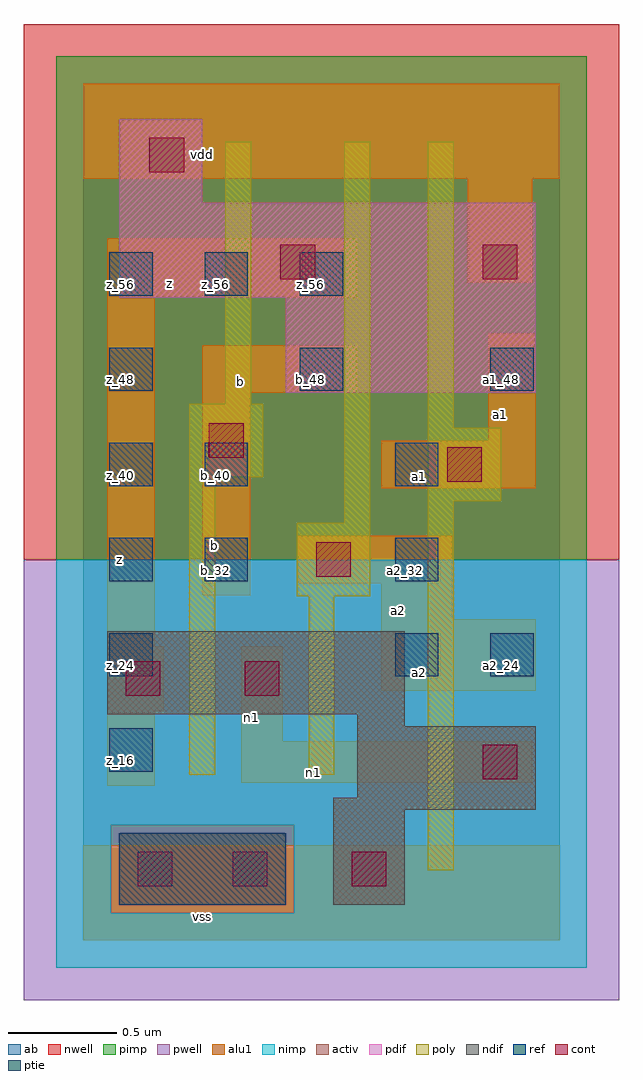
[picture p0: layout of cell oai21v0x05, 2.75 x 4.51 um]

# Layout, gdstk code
import gdstk
lib = gdstk.Library(unit=1e-6, precision=2.5e-09)
def R(c, l, rs):  # rectangles x0, y0, x1, y1
    for r in rs: c.add(gdstk.rectangle(r[:2], r[2:], *l))
def A(c, l, x, y, w, h, nx, ny, dx, dy):  # array of equal rectangles
    R(c, l, [(x+i*dx, y+j*dy, x+i*dx+w, y+j*dy+h) for i in range(nx) for j in range(ny)])
ndif = (3, 0)
pdif = (4, 0)
ptie = (6, 0)
ref = (24, 0)
cont = (25, 0)
pwell = (41, 0)
nwell = (42, 0)
activ = (43, 0)
pimp = (44, 0)
nimp = (45, 0)
poly = (46, 0)
alu1 = (49, 0)
ab = (63, 0)

oai21v0x05 = lib.new_cell('oai21v0x05')
R(oai21v0x05, ndif, [(1.155,0.165,1.485,0.605), (1.155,0.605,2.09,0.66), (1.265,0.66,2.09,0.99), (1.265,0.99,1.485,1.045), (0.11,1.045,1.485,1.43)])
R(oai21v0x05, pdif, [(0.935,2.53,2.09,2.97), (0.165,2.97,2.09,3.41), (0.165,3.41,0.55,3.795)])
R(oai21v0x05, ptie, [(0.165,0.165,0.935,0.495)])
A(oai21v0x05, ref, 0.12, 0.78, 0.2, 0.2, 1, 4, 0, 0.44)
A(oai21v0x05, ref, 1.44, 1.22, 0.2, 0.2, 1, 3, 0, 0.44)
A(oai21v0x05, ref, 0.12, 2.54, 0.2, 0.2, 3, 1, 0.88, 0)
A(oai21v0x05, ref, 0.12, 2.98, 0.2, 0.2, 3, 1, 0.44, 0)
R(oai21v0x05, ref, [(1.88,1.22,2.08,1.42), (0.56,1.66,0.76,1.86), (0.56,2.1,0.76,2.3)])
R(oai21v0x05, cont, [(0.25,0.25,0.41,0.41), (0.69,0.25,0.85,0.41), (1.24,0.25,1.4,0.41), (1.845,0.745,2.005,0.905), (0.195,1.13,0.355,1.29), (0.745,1.13,0.905,1.29), (1.075,1.68,1.235,1.84), (1.68,2.12,1.84,2.28), (0.58,2.23,0.74,2.39), (0.91,3.055,1.07,3.215), (1.845,3.055,2.005,3.215), (0.305,3.55,0.465,3.71)])
R(oai21v0x05, pwell, [(-0.275,-0.275,2.475,1.76)])
R(oai21v0x05, nwell, [(-0.275,1.76,2.475,4.235)])
R(oai21v0x05, activ, [(0.165,0.165,0.935,0.495), (1.155,0.165,1.485,0.605), (1.155,0.605,2.09,0.66), (1.265,0.66,2.09,0.99), (1.265,0.99,1.485,1.045), (0.11,1.045,1.485,1.43), (0.935,2.53,2.09,2.97), (0.165,2.97,2.09,3.41), (0.165,3.41,0.55,3.795)])
R(oai21v0x05, pimp, [(0.125,0.125,0.975,0.535), (-0.125,1.76,2.325,4.085)])
R(oai21v0x05, nimp, [(-0.125,-0.125,2.325,0.125), (-0.125,0.125,0.125,0.535), (0.975,0.125,2.325,0.535), (-0.125,0.535,2.325,1.76)])
R(oai21v0x05, poly, [(1.59,0.325,1.71,2.03), (0.49,0.765,0.61,2.14), (1.04,0.765,1.16,1.59), (0.985,1.59,1.325,1.93), (1.205,1.93,1.325,3.69), (1.59,2.03,1.93,2.37), (0.49,2.14,0.83,2.48), (1.59,2.37,1.71,3.69), (0.655,2.48,0.775,3.69)])
R(oai21v0x05, alu1, [(0,0,2.2,0.44), (0.11,0.715,0.33,1.06), (0.73,0.73,2.075,0.92), (0.73,0.92,0.92,1.36), (0.11,1.06,0.37,1.36), (1.375,1.155,2.09,1.485), (0.11,1.36,0.33,2.97), (1.375,1.485,1.705,1.65), (0.55,1.595,0.77,2.53), (0.99,1.65,1.705,1.87), (1.375,2.09,2.09,2.31), (1.87,2.31,2.09,2.805), (0.55,2.53,1.265,2.75), (0.11,2.97,1.265,3.245), (1.775,3.04,2.075,3.52), (0,3.52,2.2,3.96)])
R(oai21v0x05, ab, [(0,0,2.2,3.96)])
oai21v0x05.add(gdstk.Label('vss', (0.55,0.11), layer=49, texttype=0))
oai21v0x05.add(gdstk.Label('n1', (1.065,0.7775), layer=49, texttype=0))
oai21v0x05.add(gdstk.Label('a2', (1.5525,1.2375), layer=49, texttype=0))
oai21v0x05.add(gdstk.Label('n1', (0.7775,1.03), layer=49, texttype=0))
oai21v0x05.add(gdstk.Label('a2', (1.4575,1.525), layer=49, texttype=0))
oai21v0x05.add(gdstk.Label('a1', (1.5525,2.145), layer=49, texttype=0))
oai21v0x05.add(gdstk.Label('a1', (1.925,2.4325), layer=49, texttype=0))
oai21v0x05.add(gdstk.Label('b', (0.605,1.8275), layer=49, texttype=0))
oai21v0x05.add(gdstk.Label('b', (0.7275,2.585), layer=49, texttype=0))
oai21v0x05.add(gdstk.Label('z', (0.165,1.7625), layer=49, texttype=0))
oai21v0x05.add(gdstk.Label('z', (0.3975,3.0375), layer=49, texttype=0))
oai21v0x05.add(gdstk.Label('vdd', (0.55,3.63), layer=49, texttype=0))
oai21v0x05.add(gdstk.Label('a2_24', (1.49,1.27), layer=24, texttype=0))
oai21v0x05.add(gdstk.Label('a2_24', (1.93,1.27), layer=24, texttype=0))
oai21v0x05.add(gdstk.Label('a2_32', (1.49,1.71), layer=24, texttype=0))
oai21v0x05.add(gdstk.Label('a1_48', (1.93,2.59), layer=24, texttype=0))
oai21v0x05.add(gdstk.Label('a1_40', (1.49,2.15), layer=24, texttype=0))
oai21v0x05.add(gdstk.Label('z_56', (0.17,3.03), layer=24, texttype=0))
oai21v0x05.add(gdstk.Label('z_48', (0.17,2.59), layer=24, texttype=0))
oai21v0x05.add(gdstk.Label('z_40', (0.17,2.15), layer=24, texttype=0))
oai21v0x05.add(gdstk.Label('z_32', (0.17,1.71), layer=24, texttype=0))
oai21v0x05.add(gdstk.Label('z_24', (0.17,1.27), layer=24, texttype=0))
oai21v0x05.add(gdstk.Label('z_16', (0.17,0.83), layer=24, texttype=0))
oai21v0x05.add(gdstk.Label('z_56', (1.05,3.03), layer=24, texttype=0))
oai21v0x05.add(gdstk.Label('b_48', (1.05,2.59), layer=24, texttype=0))
oai21v0x05.add(gdstk.Label('z_56', (0.61,3.03), layer=24, texttype=0))
oai21v0x05.add(gdstk.Label('b_40', (0.61,2.15), layer=24, texttype=0))
oai21v0x05.add(gdstk.Label('b_32', (0.61,1.71), layer=24, texttype=0))

lib.write_gds('oai21v0x05.gds')
